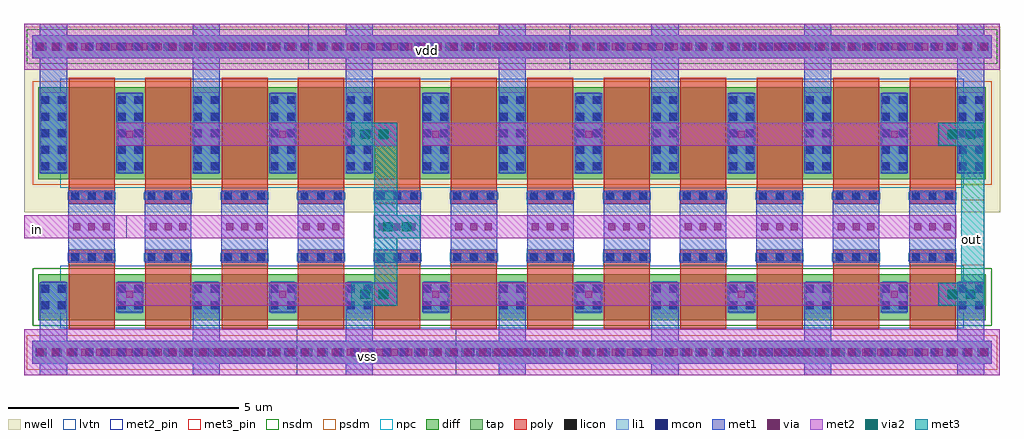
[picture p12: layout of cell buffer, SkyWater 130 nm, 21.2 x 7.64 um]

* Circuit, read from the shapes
.subckt buffer in out vdd vss
XM1 n1 in vss vss sky130_fd_pr__nfet_01v8_lvt w=1 l=1 m=4
XM2 out n1 vss vss sky130_fd_pr__nfet_01v8_lvt w=1 l=1 m=8
XM3 n1 in vdd vdd sky130_fd_pr__pfet_01v8_lvt w=2 l=1 m=4
XM4 out n1 vdd vdd sky130_fd_pr__pfet_01v8_lvt w=2 l=1 m=8
.ends

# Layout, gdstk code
from math import pi, radians
import gdstk
lib = gdstk.Library(unit=1e-6, precision=5e-09)
def R(c, l, rs):  # rectangles x0, y0, x1, y1
    for r in rs: c.add(gdstk.rectangle(r[:2], r[2:], *l))
def A(c, l, x, y, w, h, nx, ny, dx, dy):  # array of equal rectangles
    R(c, l, [(x+i*dx, y+j*dy, x+i*dx+w, y+j*dy+h) for i in range(nx) for j in range(ny)])
nwell = (64, 20)
diff = (65, 20)
tap = (65, 44)
poly = (66, 20)
licon = (66, 44)
li1 = (67, 20)
mcon = (67, 44)
met1 = (68, 20)
via = (68, 44)
met2_pin = (69, 16)
met2 = (69, 20)
via2 = (69, 44)
met3_pin = (70, 16)
met3 = (70, 20)
nsdm = (93, 44)
psdm = (94, 20)
npc = (95, 20)
lvtn = (125, 44)

pfet_7 = lib.new_cell('pfet$7')
R(pfet_7, nwell, [(-0.305,-0.38,2.625,2.72)])
R(pfet_7, diff, [(0,0,2.32,2)])
R(pfet_7, poly, [(0.66,-0.2,1.66,2.2), (0.66,2.2,1.66,2.53)])
A(pfet_7, licon, 0.065, 0.195, 0.17, 0.17, 1, 5, 0, 0.36)
A(pfet_7, licon, 0.425, 0.195, 0.17, 0.17, 1, 5, 0, 0.36)
A(pfet_7, licon, 1.725, 0.195, 0.17, 0.17, 1, 5, 0, 0.36)
A(pfet_7, licon, 2.085, 0.195, 0.17, 0.17, 1, 5, 0, 0.36)
A(pfet_7, licon, 0.715, 2.28, 0.17, 0.17, 3, 1, 0.36, 0)
R(pfet_7, li1, [(0.065,0.115,0.595,1.885), (1.725,0.115,2.255,1.885), (0.635,2.28,1.685,2.45)])
A(pfet_7, mcon, 0.065, 0.195, 0.17, 0.17, 1, 5, 0, 0.36)
A(pfet_7, mcon, 0.425, 0.195, 0.17, 0.17, 1, 5, 0, 0.36)
A(pfet_7, mcon, 1.725, 0.195, 0.17, 0.17, 1, 5, 0, 0.36)
A(pfet_7, mcon, 2.085, 0.195, 0.17, 0.17, 1, 5, 0, 0.36)
A(pfet_7, mcon, 0.715, 2.28, 0.17, 0.17, 3, 1, 0.36, 0)
R(pfet_7, met1, [(0.035,0.135,0.625,1.865), (1.695,0.135,2.285,1.865), (0.655,2.25,1.665,2.48)])
R(pfet_7, psdm, [(-0.125,-0.125,2.445,2.125)])
R(pfet_7, npc, [(0.65,2.19,1.67,2.54)])
R(pfet_7, lvtn, [(0.48,-0.18,1.84,2.18)])

nfet_8 = lib.new_cell('nfet$8')
R(nfet_8, diff, [(0,0,2.32,1)])
R(nfet_8, poly, [(0.66,-0.2,1.66,1.2), (0.66,1.2,1.66,1.53)])
A(nfet_8, licon, 0.715, 1.28, 0.17, 0.17, 3, 1, 0.36, 0)
R(nfet_8, licon, [(0.065,0.235,0.235,0.405), (0.425,0.235,0.595,0.405), (1.725,0.235,1.895,0.405), (2.085,0.235,2.255,0.405), (0.065,0.595,0.235,0.765), (0.425,0.595,0.595,0.765), (1.725,0.595,1.895,0.765), (2.085,0.595,2.255,0.765)])
R(nfet_8, li1, [(0.065,0.155,0.595,0.845), (1.725,0.155,2.255,0.845), (0.635,1.28,1.685,1.45)])
A(nfet_8, mcon, 0.715, 1.28, 0.17, 0.17, 3, 1, 0.36, 0)
R(nfet_8, mcon, [(0.065,0.235,0.235,0.405), (0.425,0.235,0.595,0.405), (1.725,0.235,1.895,0.405), (2.085,0.235,2.255,0.405), (0.065,0.595,0.235,0.765), (0.425,0.595,0.595,0.765), (1.725,0.595,1.895,0.765), (2.085,0.595,2.255,0.765)])
R(nfet_8, met1, [(0.035,0.175,0.625,0.825), (1.695,0.175,2.285,0.825), (0.655,1.25,1.665,1.48)])
R(nfet_8, nsdm, [(-0.125,-0.125,2.445,1.125)])
R(nfet_8, npc, [(0.65,1.19,1.67,1.54)])
R(nfet_8, lvtn, [(0.48,-0.18,1.84,1.18)])

vias_gen_42 = lib.new_cell('vias_gen$42')
R(vias_gen_42, met1, [(0,0,1,0.5)])
A(vias_gen_42, via, 0.105, 0.175, 0.15, 0.15, 3, 1, 0.32, 0)
R(vias_gen_42, met2, [(0,0,1,0.5)])

vias_gen_3_7 = lib.new_cell('vias_gen$3$7')
R(vias_gen_3_7, met1, [(0,0,0.5,0.59)])
R(vias_gen_3_7, via, [(0.175,0.22,0.325,0.37)])
R(vias_gen_3_7, met2, [(0,0,0.5,0.59)])

vias_gen_5 = lib.new_cell('vias_gen$5')
R(vias_gen_5, met2, [(0,0,1,0.5)])
R(vias_gen_5, via2, [(0.2,0.15,0.4,0.35), (0.6,0.15,0.8,0.35)])
R(vias_gen_5, met3, [(0,0,1,0.5)])

vias_gen_4 = lib.new_cell('vias_gen$4')
R(vias_gen_4, nwell, [(-0.18,-0.18,21.015,0.68)])
R(vias_gen_4, tap, [(0,0,20.835,0.5)])
A(vias_gen_4, licon, 0.13, 0.165, 0.17, 0.17, 61, 1, 0.34, 0)
R(vias_gen_4, li1, [(0,0,20.835,0.5)])
A(vias_gen_4, mcon, 0.07, 0.165, 0.17, 0.17, 58, 1, 0.36, 0)
R(vias_gen_4, met1, [(0,0,20.835,0.5)])
A(vias_gen_4, via, 0.105, 0.175, 0.15, 0.15, 65, 1, 0.32, 0)
R(vias_gen_4, met2, [(0,0,20.835,0.5)])
R(vias_gen_4, nsdm, [(-0.125,-0.125,20.96,0.625)])

vias_gen_6_5 = lib.new_cell('vias_gen$6$5')
R(vias_gen_6_5, tap, [(0,0,20.835,0.5)])
A(vias_gen_6_5, licon, 0.13, 0.165, 0.17, 0.17, 61, 1, 0.34, 0)
R(vias_gen_6_5, li1, [(0,0,20.835,0.5)])
A(vias_gen_6_5, mcon, 0.07, 0.165, 0.17, 0.17, 58, 1, 0.36, 0)
R(vias_gen_6_5, met1, [(0,0,20.835,0.5)])
A(vias_gen_6_5, via, 0.105, 0.175, 0.15, 0.15, 65, 1, 0.32, 0)
R(vias_gen_6_5, met2, [(0,0,20.835,0.5)])
R(vias_gen_6_5, psdm, [(-0.125,-0.125,20.96,0.625)])

buffer = lib.new_cell('buffer')
R(buffer, nwell, [(0,3.54,21.195,7.57)])
A(buffer, met1, 0.965, 2.45, 1.01, 1.56, 12, 1, 1.66, 0)
R(buffer, met2_pin, [(5.92,0,9.39,1), (0,2.98,2.23,3.48), (6.17,6.64,11.86,7.64)])
R(buffer, met3_pin, [(20.355,2.39,20.855,3.815)])
R(buffer, lvtn, [(0.79,1.02,20.41,2.38), (0.79,4.08,20.41,6.44)])
buffer.add(gdstk.FlexPath([(0.64,4.395),(0.64,7.64)], 0.59, ends="flush", simple_path=True, layer=68, datatype=20))  # met1
buffer.add(gdstk.FlexPath([(3.96,4.395),(3.96,7.64)], 0.59, ends="flush", simple_path=True, layer=68, datatype=20))  # met1
buffer.add(gdstk.FlexPath([(7.28,4.395),(7.28,7.64)], 0.59, ends="flush", simple_path=True, layer=68, datatype=20))  # met1
buffer.add(gdstk.FlexPath([(10.6,4.395),(10.6,7.64)], 0.59, ends="flush", simple_path=True, layer=68, datatype=20))  # met1
buffer.add(gdstk.FlexPath([(13.92,4.395),(13.92,7.64)], 0.59, ends="flush", simple_path=True, layer=68, datatype=20))  # met1
buffer.add(gdstk.FlexPath([(17.24,4.395),(17.24,7.64)], 0.59, ends="flush", simple_path=True, layer=68, datatype=20))  # met1
buffer.add(gdstk.FlexPath([(20.56,4.395),(20.56,7.64)], 0.59, ends="flush", simple_path=True, layer=68, datatype=20))  # met1
buffer.add(gdstk.FlexPath([(0.64,2.025),(0.64,0)], 0.59, ends="flush", simple_path=True, layer=68, datatype=20))  # met1
buffer.add(gdstk.FlexPath([(3.96,2.025),(3.96,0)], 0.59, ends="flush", simple_path=True, layer=68, datatype=20))  # met1
buffer.add(gdstk.FlexPath([(7.28,2.025),(7.28,0)], 0.59, ends="flush", simple_path=True, layer=68, datatype=20))  # met1
buffer.add(gdstk.FlexPath([(10.6,2.025),(10.6,0)], 0.59, ends="flush", simple_path=True, layer=68, datatype=20))  # met1
buffer.add(gdstk.FlexPath([(13.92,2.025),(13.92,0)], 0.59, ends="flush", simple_path=True, layer=68, datatype=20))  # met1
buffer.add(gdstk.FlexPath([(17.24,2.025),(17.24,0)], 0.59, ends="flush", simple_path=True, layer=68, datatype=20))  # met1
buffer.add(gdstk.FlexPath([(20.56,2.025),(20.56,0)], 0.59, ends="flush", simple_path=True, layer=68, datatype=20))  # met1
buffer.add(gdstk.FlexPath([(0,3.23),(6.955,3.23)], 0.5, ends="flush", simple_path=True, layer=69, datatype=20))  # met2
buffer.add(gdstk.FlexPath([(0,7.14),(21.19,7.14)], 1, ends="flush", simple_path=True, layer=69, datatype=20))  # met2
buffer.add(gdstk.FlexPath([(0,0.5),(21.19,0.5)], 1, ends="flush", simple_path=True, layer=69, datatype=20))  # met2
buffer.add(gdstk.FlexPath([(2.005,5.24),(8.105,5.24)], 0.5, ends="flush", simple_path=True, layer=69, datatype=20))  # met2
buffer.add(gdstk.FlexPath([(2.005,1.76),(8.105,1.76)], 0.5, ends="flush", simple_path=True, layer=69, datatype=20))  # met2
buffer.add(gdstk.FlexPath([(7.6,3.23),(20.24,3.23)], 0.5, ends="flush", simple_path=True, layer=69, datatype=20))  # met2
buffer.add(gdstk.FlexPath([(8.645,5.24),(20.855,5.24)], 0.5, ends="flush", simple_path=True, layer=69, datatype=20))  # met2
buffer.add(gdstk.FlexPath([(8.645,1.76),(20.855,1.76)], 0.5, ends="flush", simple_path=True, layer=69, datatype=20))  # met2
buffer.add(gdstk.FlexPath([(7.855,5.49),(7.855,1.51)], 0.5, ends="flush", simple_path=True, layer=70, datatype=20))  # met3
buffer.add(gdstk.FlexPath([(20.605,5.49),(20.605,1.51)], 0.5, ends="flush", simple_path=True, layer=70, datatype=20))  # met3
buffer.add(gdstk.Reference(pfet_7, (1.97,6.26), x_reflection=True))
buffer.add(gdstk.Reference(pfet_7, (0.31,6.26), x_reflection=True))
buffer.add(gdstk.Reference(pfet_7, (3.63,6.26), x_reflection=True))
buffer.add(gdstk.Reference(pfet_7, (5.29,6.26), x_reflection=True))
buffer.add(gdstk.Reference(nfet_8, (0.31,1.2)))
buffer.add(gdstk.Reference(nfet_8, (1.97,1.2)))
buffer.add(gdstk.Reference(nfet_8, (3.63,1.2)))
buffer.add(gdstk.Reference(nfet_8, (5.29,1.2)))
buffer.add(gdstk.Reference(pfet_7, (8.61,6.26), x_reflection=True))
buffer.add(gdstk.Reference(pfet_7, (6.95,6.26), x_reflection=True))
buffer.add(gdstk.Reference(pfet_7, (10.27,6.26), x_reflection=True))
buffer.add(gdstk.Reference(pfet_7, (11.93,6.26), x_reflection=True))
buffer.add(gdstk.Reference(pfet_7, (15.25,6.26), x_reflection=True))
buffer.add(gdstk.Reference(pfet_7, (13.59,6.26), x_reflection=True))
buffer.add(gdstk.Reference(pfet_7, (16.91,6.26), x_reflection=True))
buffer.add(gdstk.Reference(pfet_7, (18.57,6.26), x_reflection=True))
buffer.add(gdstk.Reference(nfet_8, (6.95,1.2)))
buffer.add(gdstk.Reference(nfet_8, (8.61,1.2)))
buffer.add(gdstk.Reference(nfet_8, (10.27,1.2)))
buffer.add(gdstk.Reference(nfet_8, (11.93,1.2)))
buffer.add(gdstk.Reference(nfet_8, (13.59,1.2)))
buffer.add(gdstk.Reference(nfet_8, (15.25,1.2)))
buffer.add(gdstk.Reference(nfet_8, (16.91,1.2)))
buffer.add(gdstk.Reference(nfet_8, (18.57,1.2)))
buffer.add(gdstk.Reference(vias_gen_42, (0.965,2.98)))
buffer.add(gdstk.Reference(vias_gen_42, (2.63,2.98)))
buffer.add(gdstk.Reference(vias_gen_42, (4.29,2.98)))
buffer.add(gdstk.Reference(vias_gen_42, (5.95,2.98)))
buffer.add(gdstk.Reference(vias_gen_3_7, (5.915,5.49), rotation=3*pi/2, x_reflection=True))
buffer.add(gdstk.Reference(vias_gen_3_7, (2.595,5.49), rotation=3*pi/2, x_reflection=True))
buffer.add(gdstk.Reference(vias_gen_3_7, (5.915,2.01), rotation=3*pi/2, x_reflection=True))
buffer.add(gdstk.Reference(vias_gen_3_7, (2.595,2.01), rotation=3*pi/2, x_reflection=True))
buffer.add(gdstk.Reference(vias_gen_42, (7.6,2.98)))
buffer.add(gdstk.Reference(vias_gen_42, (9.265,2.98)))
buffer.add(gdstk.Reference(vias_gen_42, (10.925,2.98)))
buffer.add(gdstk.Reference(vias_gen_42, (12.585,2.98)))
buffer.add(gdstk.Reference(vias_gen_42, (14.245,2.98)))
buffer.add(gdstk.Reference(vias_gen_42, (15.91,2.98)))
buffer.add(gdstk.Reference(vias_gen_42, (17.57,2.98)))
buffer.add(gdstk.Reference(vias_gen_42, (19.23,2.98)))
buffer.add(gdstk.Reference(vias_gen_5, (7.105,4.99)))
buffer.add(gdstk.Reference(vias_gen_3_7, (9.235,5.49), rotation=3*pi/2, x_reflection=True))
buffer.add(gdstk.Reference(vias_gen_5, (7.605,2.98)))
buffer.add(gdstk.Reference(vias_gen_5, (7.105,1.51)))
buffer.add(gdstk.Reference(vias_gen_3_7, (12.555,5.49), rotation=3*pi/2, x_reflection=True))
buffer.add(gdstk.Reference(vias_gen_3_7, (15.875,5.49), rotation=3*pi/2, x_reflection=True))
buffer.add(gdstk.Reference(vias_gen_3_7, (19.195,5.49), rotation=3*pi/2, x_reflection=True))
buffer.add(gdstk.Reference(vias_gen_3_7, (9.235,2.01), rotation=3*pi/2, x_reflection=True))
buffer.add(gdstk.Reference(vias_gen_3_7, (12.555,2.01), rotation=3*pi/2, x_reflection=True))
buffer.add(gdstk.Reference(vias_gen_3_7, (15.875,2.01), rotation=3*pi/2, x_reflection=True))
buffer.add(gdstk.Reference(vias_gen_3_7, (19.195,2.01), rotation=3*pi/2, x_reflection=True))
buffer.add(gdstk.Reference(vias_gen_5, (19.855,4.99)))
buffer.add(gdstk.Reference(vias_gen_5, (19.855,1.51)))
buffer.add(gdstk.Reference(vias_gen_4, (0.18,6.89)))
buffer.add(gdstk.Reference(vias_gen_6_5, (0.18,0.25)))
buffer.add(gdstk.Label('vdd', (8.755,7.065), layer=69, texttype=16))
buffer.add(gdstk.Label('vss', (7.45,0.415), layer=69, texttype=16))
buffer.add(gdstk.Label('in', (0.285,3.17), layer=69, texttype=16))
buffer.add(gdstk.Label('out', (20.58,2.95), layer=70, texttype=16))

lib.write_gds('buffer.gds')
